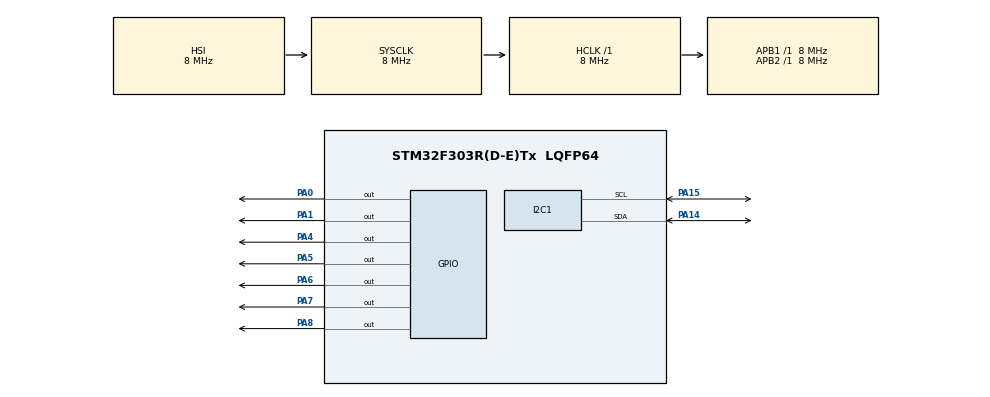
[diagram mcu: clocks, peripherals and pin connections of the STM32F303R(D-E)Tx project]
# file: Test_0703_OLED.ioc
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I2C1.Timing=0x00201D2B
Mcu.Family=STM32F3
Mcu.Name=STM32F303R(D-E)Tx
Mcu.Package=LQFP64
NVIC.PriorityGroup=NVIC_PRIORITYGROUP_4
PA0.Signal=GPIO_Output
PA1.Signal=GPIO_Output
PA14.Mode=I2C
PA14.Signal=I2C1_SDA
PA15.Mode=I2C
PA15.Signal=I2C1_SCL
PA4.Signal=GPIO_Output
PA5.Signal=GPIO_Output
PA6.Signal=GPIO_Output
PA7.Signal=GPIO_Output
PA8.Signal=GPIO_Output
ProjectManager.HeapSize=0x200
ProjectManager.StackSize=0x400
ProjectManager.TargetToolchain=CMake
RCC.AHBFreq_Value=8000000
RCC.APB1Freq_Value=8000000
RCC.APB2Freq_Value=8000000
RCC.CortexFreq_Value=8000000
RCC.HSE_VALUE=8000000
RCC.HSI_VALUE=8000000
RCC.LSE_VALUE=32768
RCC.SYSCLKFreq_VALUE=8000000
RCC.USBFreq_Value=16000000
board=custom

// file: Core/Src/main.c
/* USER CODE BEGIN Header */
/**
  ******************************************************************************
  * @file           : main.c
  * @brief          : Main program body
  ******************************************************************************
  * @attention
  *
  * Copyright (c) 2026 STMicroelectronics.
  * All rights reserved.
  *
  * This software is licensed under terms that can be found in the LICENSE file
  * in the root directory of this software component.
  * If no LICENSE file comes with this software, it is provided AS-IS.
  *
  ******************************************************************************
  */
/* USER CODE END Header */
#include "main.h"
#include "i2c.h"
#include "gpio.h"

/* USER CODE BEGIN Includes */
#include "ssd1306.h"
#include "ssd1306_font.h"
/* USER CODE END Includes */

/* USER CODE BEGIN PV */

#define SSD1306_I2C

/* 버튼 핀 정의 */
#define BTN_1F_PORT      GPIOA
#define BTN_1F_PIN       GPIO_PIN_0

#define BTN_2F_PORT      GPIOA
#define BTN_2F_PIN       GPIO_PIN_1

#define BTN_3F_PORT      GPIOA
#define BTN_3F_PIN       GPIO_PIN_7

#define BTN_OPEN_PORT    GPIOA
#define BTN_OPEN_PIN     GPIO_PIN_8

#define BTN_CLOSE_PORT   GPIOA
#define BTN_CLOSE_PIN    GPIO_PIN_4

#define BTN_UP_PORT      GPIOA
#define BTN_UP_PIN       GPIO_PIN_5

#define BTN_DOWN_PORT    GPIOA
#define BTN_DOWN_PIN     GPIO_PIN_6

#define ARROW_DOWN       0
#define ARROW_UP         1

/* USER CODE END PV */

void SystemClock_Config(void);
/* USER CODE BEGIN PFP */
uint8_t Button_IsPressed(GPIO_TypeDef *GPIOx, uint16_t GPIO_Pin);
void OLED_ShowMessage(char *line1, char *line2);
void OLED_ShowArrowMessage(char *line1, char *line2, uint8_t direction);
void OLED_ShowArrowMessageAt(char *line1, char *line2, uint8_t direction, int8_t arrow_y);
void OLED_DrawArrow(uint8_t x, int8_t y, uint8_t direction);
void OLED_DrawClippedPixel(int16_t x, int16_t y);
/* USER CODE END PFP */

/* USER CODE BEGIN 0 */

uint8_t Button_IsPressed(GPIO_TypeDef *GPIOx, uint16_t GPIO_Pin)
{
    if (HAL_GPIO_ReadPin(GPIOx, GPIO_Pin) == GPIO_PIN_RESET)
    {
        HAL_Delay(20);   // 디바운싱

        if (HAL_GPIO_ReadPin(GPIOx, GPIO_Pin) == GPIO_PIN_RESET)
        {
            return 1;
        }
    }

    return 0;
}

void OLED_ShowMessage(char *line1, char *line2)
{
    ssd1306_black_screen();

    ssd1306_set_cursor(0, 0);
    ssd1306_write_string(font7x10, line1);

    ssd1306_set_cursor(0, 28);
    ssd1306_write_string(font11x18, line2);

    ssd1306_update_screen();
}

void OLED_ShowArrowMessage(char *line1, char *line2, uint8_t direction)
{
    OLED_ShowArrowMessageAt(line1, line2, direction, 20);
}

void OLED_ShowArrowMessageAt(char *line1, char *line2, uint8_t direction, int8_t arrow_y)
{
    ssd1306_black_screen();

    ssd1306_set_cursor(0, 0);
    ssd1306_write_string(font7x10, line1);

    ssd1306_set_cursor(0, 28);
    ssd1306_write_string(font11x18, line2);

    OLED_DrawArrow(96, arrow_y, direction);
    ssd1306_update_screen();
}

void OLED_DrawClippedPixel(int16_t x, int16_t y)
{
    if ((x >= 0) && (x < SSD1306_WIDTH) && (y >= 0) && (y < SSD1306_HEIGHT))
    {
        ssd1306_white_pixel((uint8_t)x, (uint8_t)y);
    }
}

void OLED_DrawArrow(uint8_t x, int8_t y, uint8_t direction)
{
    int16_t center = (int16_t)(x + 12);

    if (direction == ARROW_UP)
    {
        for (uint8_t row = 0; row < 12; row++)
        {
            uint8_t half_width = row;
            for (uint8_t col = 0; col <= (half_width * 2); col++)
            {
                OLED_DrawClippedPixel((int16_t)(center - half_width + col), (int16_t)(y + row));
            }
        }

        for (uint8_t row = 12; row < 36; row++)
        {
            for (uint8_t col = 0; col < 7; col++)
            {
                OLED_DrawClippedPixel((int16_t)(center - 3 + col), (int16_t)(y + row));
            }
        }
    }
    else
    {
        for (uint8_t row = 0; row < 24; row++)
        {
            for (uint8_t col = 0; col < 7; col++)
            {
                OLED_DrawClippedPixel((int16_t)(center - 3 + col), (int16_t)(y + row));
            }
        }

        for (uint8_t row = 0; row < 12; row++)
        {
            uint8_t half_width = (uint8_t)(11 - row);
            for (uint8_t col = 0; col <= (half_width * 2); col++)
            {
                OLED_DrawClippedPixel((int16_t)(center - half_width + col), (int16_t)(y + 24 + row));
            }
        }
    }
}

/* USER CODE END 0 */

int main(void)
{

  /* MCU Configuration--------------------------------------------------------*/

  /* Reset of all peripherals, Initializes the Flash interface and the Systick. */
  HAL_Init();

  /* Configure the system clock */
  SystemClock_Config();

  /* Initialize all configured peripherals */
  MX_GPIO_Init();
  MX_I2C1_Init();
  /* USER CODE BEGIN 2 */
  ssd1306_init();

  OLED_ShowMessage("ELEVATOR", "READY");

  HAL_Delay(1000);
  /* USER CODE END 2 */

  /* Infinite loop */
  while (1)
  {

    /* USER CODE BEGIN 3 */
    if (Button_IsPressed(BTN_1F_PORT, BTN_1F_PIN))
    {
        OLED_ShowMessage("BUTTON", "1 FLOOR");

        while (HAL_GPIO_ReadPin(BTN_1F_PORT, BTN_1F_PIN) == GPIO_PIN_RESET);
        HAL_Delay(100);
    }

    else if (Button_IsPressed(BTN_2F_PORT, BTN_2F_PIN))
    {
        OLED_ShowMessage("BUTTON", "2 FLOOR");

        while (HAL_GPIO_ReadPin(BTN_2F_PORT, BTN_2F_PIN) == GPIO_PIN_RESET);
        HAL_Delay(100);
    }

    else if (Button_IsPressed(BTN_3F_PORT, BTN_3F_PIN))
    {
        OLED_ShowMessage("BUTTON", "3 FLOOR");

        while (HAL_GPIO_ReadPin(BTN_3F_PORT, BTN_3F_PIN) == GPIO_PIN_RESET);
        HAL_Delay(100);
    }

    else if (Button_IsPressed(BTN_OPEN_PORT, BTN_OPEN_PIN))
    {
        OLED_ShowMessage("DOOR", "OPEN");

        while (HAL_GPIO_ReadPin(BTN_OPEN_PORT, BTN_OPEN_PIN) == GPIO_PIN_RESET);
        HAL_Delay(100);
    }

    else if (Button_IsPressed(BTN_CLOSE_PORT, BTN_CLOSE_PIN))
    {
        OLED_ShowMessage("DOOR", "CLOSE");

        while (HAL_GPIO_ReadPin(BTN_CLOSE_PORT, BTN_CLOSE_PIN) == GPIO_PIN_RESET);
        HAL_Delay(100);
    }

    else if (Button_IsPressed(BTN_UP_PORT, BTN_UP_PIN))
    {
        int8_t arrow_y[] = {44, 36, 28, 20, 12, 4, -4, -12, -20};
        uint8_t frame = 0;

        while (HAL_GPIO_ReadPin(BTN_UP_PORT, BTN_UP_PIN) == GPIO_PIN_RESET)
        {
            OLED_ShowArrowMessageAt("MANUAL", "UP", ARROW_UP, arrow_y[frame]);
            frame = (uint8_t)((frame + 1) % 9);
            HAL_Delay(10);
        }
        HAL_Delay(100);
    }

    else if (Button_IsPressed(BTN_DOWN_PORT, BTN_DOWN_PIN))
    {
        int8_t arrow_y[] = {-20, -12, -4, 4, 12, 20, 28, 36, 44};
        uint8_t frame = 0;

        while (HAL_GPIO_ReadPin(BTN_DOWN_PORT, BTN_DOWN_PIN) == GPIO_PIN_RESET)
        {
            OLED_ShowArrowMessageAt("MANUAL", "DOWN", ARROW_DOWN, arrow_y[frame]);
            frame = (uint8_t)((frame + 1) % 9);
            HAL_Delay(10);
        }
        HAL_Delay(100);
    }
  }
  /* USER CODE END 3 */
}

void SystemClock_Config(void)
{
  RCC_OscInitTypeDef RCC_OscInitStruct = {0};
  RCC_ClkInitTypeDef RCC_ClkInitStruct = {0};
  RCC_PeriphCLKInitTypeDef PeriphClkInit = {0};

  /** Initializes the RCC Oscillators according to the specified parameters
  * in the RCC_OscInitTypeDef structure.
  */
  RCC_OscInitStruct.OscillatorType = RCC_OSCILLATORTYPE_HSI;
  RCC_OscInitStruct.HSIState = RCC_HSI_ON;
  RCC_OscInitStruct.HSICalibrationValue = RCC_HSICALIBRATION_DEFAULT;
  RCC_OscInitStruct.PLL.PLLState = RCC_PLL_NONE;
  if (HAL_RCC_OscConfig(&RCC_OscInitStruct) != HAL_OK)
  {
    Error_Handler();
  }

  /** Initializes the CPU, AHB and APB buses clocks
  */
  RCC_ClkInitStruct.ClockType = RCC_CLOCKTYPE_HCLK|RCC_CLOCKTYPE_SYSCLK
                              |RCC_CLOCKTYPE_PCLK1|RCC_CLOCKTYPE_PCLK2;
  RCC_ClkInitStruct.SYSCLKSource = RCC_SYSCLKSOURCE_HSI;
  RCC_ClkInitStruct.AHBCLKDivider = RCC_SYSCLK_DIV1;
  RCC_ClkInitStruct.APB1CLKDivider = RCC_HCLK_DIV1;
  RCC_ClkInitStruct.APB2CLKDivider = RCC_HCLK_DIV1;

  if (HAL_RCC_ClockConfig(&RCC_ClkInitStruct, FLASH_LATENCY_0) != HAL_OK)
  {
    Error_Handler();
  }
  PeriphClkInit.PeriphClockSelection = RCC_PERIPHCLK_I2C1;
  PeriphClkInit.I2c1ClockSelection = RCC_I2C1CLKSOURCE_HSI;
  if (HAL_RCCEx_PeriphCLKConfig(&PeriphClkInit) != HAL_OK)
  {
    Error_Handler();
  }
}

void Error_Handler(void)
{
  __disable_irq();
  while (1)
  {
  }
}
